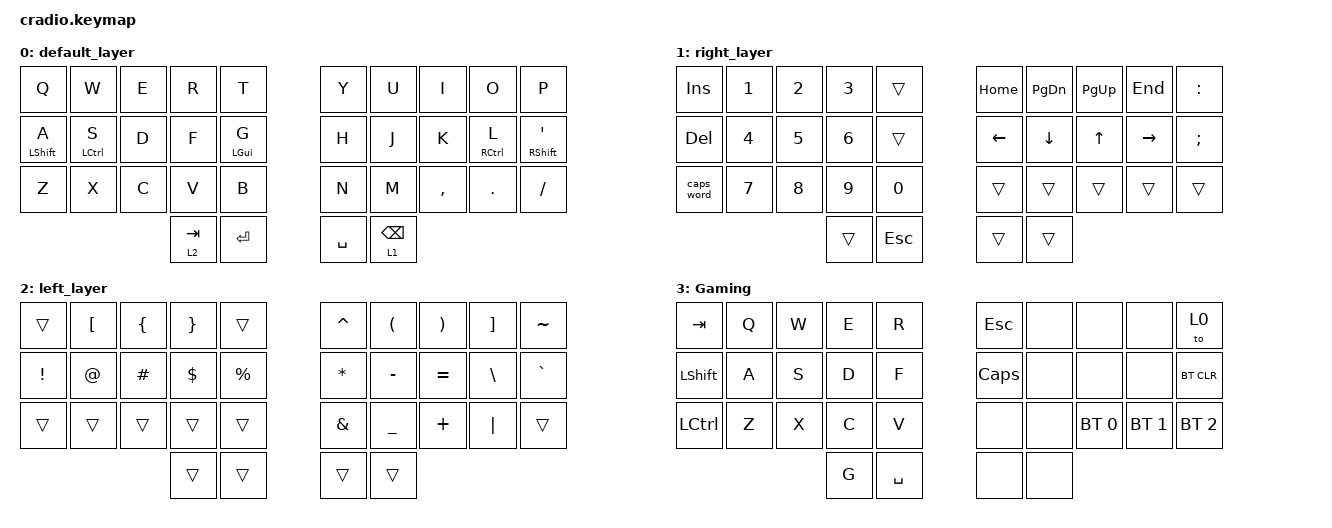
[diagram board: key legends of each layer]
// Copyright (c) 2022 The ZMK Contributors
// SPDX-License-Identifier: MIT

#include <behaviors.dtsi>
#include <dt-bindings/zmk/bt.h>
#include <dt-bindings/zmk/keys.h>

/ {
    behaviors {
        ht: hold_tap {
            compatible = "zmk,behavior-hold-tap";
            #binding-cells = <2>;
            flavor = "tap-preferred";
            tapping-term-ms = <220>;
            quick-tap-ms = <150>;
            require-prior-idle-ms = <100>;
            bindings = <&kp>, <&kp>;
        };
    };

    conditional_layers { compatible = "zmk,conditional-layers"; };

    combos {
        compatible = "zmk,combos";

        Layer_3 {
            bindings = <&to 3>;
            key-positions = <0 9>;
        };
    };

    keymap {
        compatible = "zmk,keymap";

        default_layer {
            bindings = <
&kp Q             &kp W        &kp E  &kp R      &kp T         &kp Y      &kp U            &kp I      &kp O                &kp P
&ht LEFT_SHIFT A  &ht LCTRL S  &kp D  &kp F      &ht LGUI G    &kp H      &kp J            &kp K      &ht RIGHT_CONTROL L  &ht RIGHT_SHIFT SQT
&kp Z             &kp X        &kp C  &kp V      &kp B         &kp N      &kp M            &kp COMMA  &kp DOT              &kp FSLH
                                      &lt 2 TAB  &kp ENTER     &kp SPACE  &lt 1 BACKSPACE
            >;
        };

        right_layer {
            bindings = <
&kp INS     &kp N1  &kp N2  &kp N3  &trans     &kp HOME  &kp PG_DN  &kp PG_UP  &kp END    &kp COLON
&kp DEL     &kp N4  &kp N5  &kp N6  &trans     &kp LEFT  &kp DOWN   &kp UP     &kp RIGHT  &kp SEMI
&caps_word  &kp N7  &kp N8  &kp N9  &kp N0     &trans    &trans     &trans     &trans     &trans
                            &trans  &kp ESC    &trans    &trans
            >;
        };

        left_layer {
            bindings = <
&trans    &kp LBKT  &kp LBRC  &kp RBRC  &trans       &kp CARET  &kp LPAR   &kp RPAR   &kp RBKT  &kp TILDE
&kp EXCL  &kp AT    &kp HASH  &kp DLLR  &kp PRCNT    &kp ASTRK  &kp MINUS  &kp EQUAL  &kp BSLH  &kp GRAVE
&trans    &trans    &trans    &trans    &trans       &kp AMPS   &kp UNDER  &kp PLUS   &kp PIPE  &trans
                              &trans    &trans       &trans     &trans
            >;
        };

        Gaming {
            bindings = <
&kp TAB    &kp Q  &kp W  &kp E  &kp R        &kp ESC   &none  &none         &none         &to 0
&kp LSHFT  &kp A  &kp S  &kp D  &kp F        &kp CAPS  &none  &none         &none         &bt BT_CLR
&kp LCTRL  &kp Z  &kp X  &kp C  &kp V        &none     &none  &bt BT_SEL 0  &bt BT_SEL 1  &bt BT_SEL 2
                         &kp G  &kp SPACE    &none     &none
            >;
        };
    };
};
